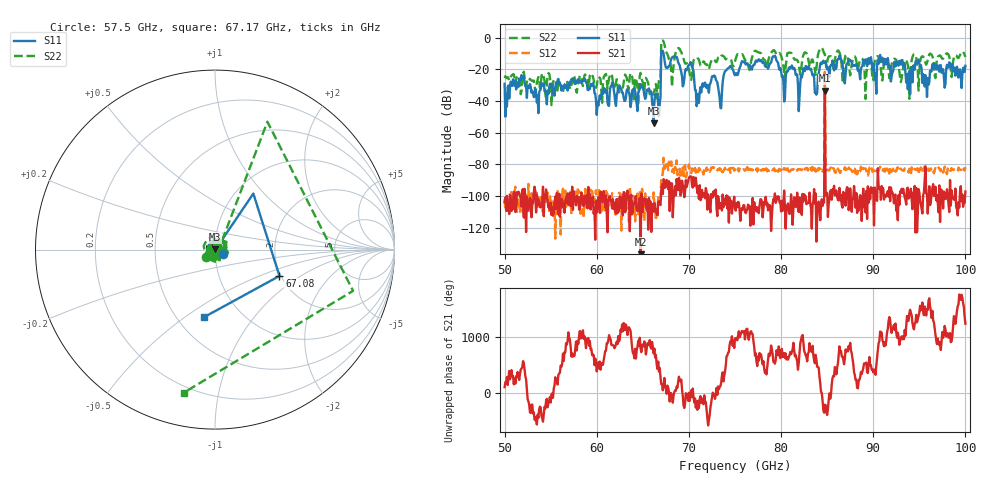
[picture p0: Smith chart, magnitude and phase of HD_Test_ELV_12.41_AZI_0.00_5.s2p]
! 11/25/2026 9:12:18 AM
! C:\ANRITSUVNA\TEMP\TEMP.S2P
! CHANNEL.1
! TR.MEASUREMENT
! RAW.DATA
# HZ S RI R 50.0
! FREQ.HZ  S11RE  S11IM  S21RE  S21IM  S12RE  S12IM  S22RE  S22IM
!; PortSelection: Port_12
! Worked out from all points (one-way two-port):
!   601 points, 50 GHz to 100 GHz, reference 50 ohm
!   highest |S21| = -33.51 dB at 84.75 GHz (marker M1); lowest = -140.0 dB at 64.75 GHz (marker M2)
!   lowest |S11| = -54.2 dB at 66.17 GHz (marker M3), VSWR 1.00, Z = 50.1 + j0.156 ohm
!   |S11| at or under -10 dB: start of sweep to 67 GHz; 67.24 GHz to end of sweep
!   |S22| runs from -42.7 to -1.8 dB; largest |S21 - S12| = 0.1
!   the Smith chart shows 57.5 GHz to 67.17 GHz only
!   S11 on the Smith chart (normalised r, x): 57.5 GHz: 1.09, -0.05; 67.08 GHz: 1.96, -0.68; 67.17 GHz: 0.67, -0.59
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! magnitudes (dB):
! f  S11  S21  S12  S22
! 50 GHz  -29.2  -103.8  -102.2  -25.3
! 57.5 GHz  -26.2  -97.1  -99.9  -23.7
! 58.42 GHz  -27.2  -101.7  -102.9  -29.0
! 60.17 GHz  -43.0  -100.9  -104.4  -24.8
! 64.75 GHz  -29.4  -140.0  -101.9  -22.3
! 66.17 GHz  -54.2  -109.5  -97.9  -35.3
! 66.67 GHz  -41.9  -103.8  -101.0  -32.1
! 67.08 GHz  -8.2  -92.7  -88.1  -1.9
! 67.17 GHz  -8.3  -98.9  -85.7  -1.8
! 70.17 GHz  -15.5  -87.7  -84.7  -25.7
! 70.92 GHz  -40.7  -98.2  -84.0  -13.3
! 75 GHz  -23.7  -108.0  -83.2  -15.0
! 79.25 GHz  -11.8  -102.6  -82.6  -7.9
! 80.25 GHz  -27.5  -104.9  -85.0  -17.7
! 83.42 GHz  -23.7  -105.6  -81.8  -13.8
! 83.83 GHz  -36.0  -128.9  -82.8  -19.5
! 84.75 GHz  -15.5  -33.5  -21.6  -10.2
! 91.67 GHz  -16.6  -100.4  -83.4  -20.5
! 93.75 GHz  -32.6  -94.8  -84.1  -17.3
! 94.83 GHz  -15.0  -111.1  -82.6  -20.3
! 95.83 GHz  -37.5  -99.1  -82.1  -15.9
! 100 GHz  -17.7  -97.2  -81.9  -12.2
